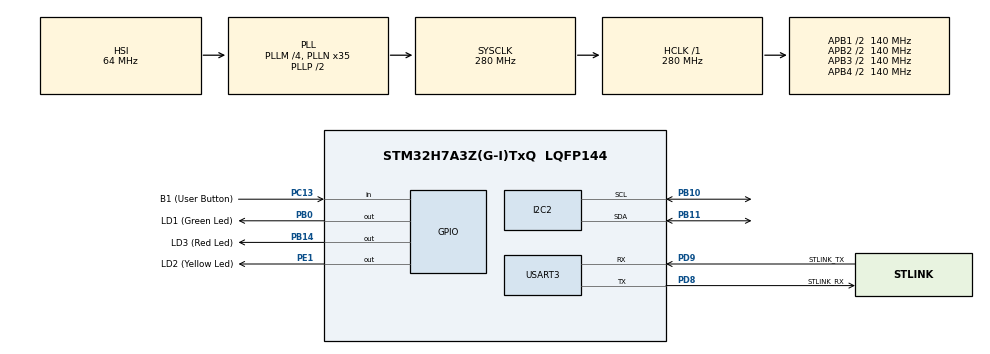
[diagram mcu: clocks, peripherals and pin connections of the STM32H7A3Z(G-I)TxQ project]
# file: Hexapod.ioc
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CORTEX_M7.default_mode_Activation=1
I2C2.Timing=0x20B0CCFF
Mcu.Family=STM32H7
Mcu.Name=STM32H7A3Z(G-I)TxQ
Mcu.Package=LQFP144
NVIC.PriorityGroup=NVIC_PRIORITYGROUP_4
NVIC.USART3_IRQn=true\:0\:0\:false\:false\:true\:true\:true\:true
PA13.Mode=Trace_Asynchronous_SW
PA13.Signal=DEBUG_JTMS-SWDIO
PA14.Mode=Trace_Asynchronous_SW
PA14.Signal=DEBUG_JTCK-SWCLK
PB0.GPIO_Label=LD1 (Green Led)
PB0.Signal=GPIO_Output
PB10.Mode=I2C
PB10.Signal=I2C2_SCL
PB11.Mode=I2C
PB11.Signal=I2C2_SDA
PB14.GPIO_Label=LD3 (Red Led)
PB14.Signal=GPIO_Output
PB3.Mode=Trace_Asynchronous_SW
PB3.Signal=DEBUG_JTDO-SWO
PC13.GPIO_Label=B1 (User Button)
PC13.Signal=GPIO_Input
PC14-OSC32_IN.GPIO_Label=OSC32_IN
PC14-OSC32_IN.Signal=RCC_OSC32_IN
PC15-OSC32_OUT.GPIO_Label=OSC32_OUT
PC15-OSC32_OUT.Signal=RCC_OSC32_OUT
PD8.GPIO_Label=STLINK_RX
PD8.Mode=Asynchronous
PD8.Signal=USART3_TX
PD9.GPIO_Label=STLINK_TX
PD9.Mode=Asynchronous
PD9.Signal=USART3_RX
PE1.GPIO_Label=LD2 (Yellow Led)
PE1.Signal=GPIO_Output
PH0-OSC_IN.GPIO_Label=PH0-MCU
PH0-OSC_IN.Mode=HSE-External-Oscillator
PH0-OSC_IN.Signal=RCC_OSC_IN
PH1-OSC_OUT.GPIO_Label=PH1-MCU
PH1-OSC_OUT.Mode=HSE-External-Oscillator
PH1-OSC_OUT.Signal=RCC_OSC_OUT
ProjectManager.HeapSize=0x200
ProjectManager.StackSize=0x400
ProjectManager.TargetToolchain=STM32CubeIDE
RCC.ADCFreq_Value=129000000
RCC.APB1Freq_Value=140000000
RCC.APB2Freq_Value=140000000
RCC.APB3Freq_Value=140000000
RCC.APB4Freq_Value=140000000
RCC.CDPPRE=RCC_APB3_DIV2
RCC.CDPPRE1=RCC_APB1_DIV2
RCC.CDPPRE2=RCC_APB2_DIV2
RCC.CortexFreq_Value=280000000
RCC.DIVM1=4
RCC.DIVM3=1
RCC.DIVN1=35
RCC.DIVN3=24
RCC.DIVQ1=4
RCC.HCLKFreq_Value=280000000
RCC.HSE_VALUE=8000000
RCC.PLLFRACN=0
RCC.PWR_Regulator_Voltage_Scale=PWR_REGULATOR_VOLTAGE_SCALE0
RCC.SRDPPRE=RCC_APB4_DIV2
RCC.SYSCLKFreq_VALUE=280000000
RCC.SYSCLKSource=RCC_SYSCLKSOURCE_PLLCLK
RCC.SupplySource=PWR_DIRECT_SMPS_SUPPLY
RCC.USBCLockSelection=RCC_USBCLKSOURCE_HSI48
RCC.USBFreq_Value=48000000
USART3.VirtualMode-Asynchronous=VM_ASYNC
VP_MEMORYMAP_VS_MEMORYMAP.Mode=CurAppReg
board=NUCLEO-H7A3ZI-Q

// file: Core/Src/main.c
/* USER CODE BEGIN Header */
/**
  ******************************************************************************
  * @file           : main.c
  * @brief          : Main program body
  ******************************************************************************
  * @attention
  *
  * Copyright (c) 2025 STMicroelectronics.
  * All rights reserved.
  *
  * This software is licensed under terms that can be found in the LICENSE file
  * in the root directory of this software component.
  * If no LICENSE file comes with this software, it is provided AS-IS.
  *
  ******************************************************************************
  */
/* USER CODE END Header */
#include "main.h"
#include "i2c.h"
#include "usart.h"
#include "gpio.h"

/* USER CODE BEGIN Includes */
#include "driver_pca9685_basic.h"

/* USER CODE END Includes */

void SystemClock_Config(void);
static void MPU_Config(void);

/* USER CODE BEGIN 0 */
#define PCA9685_ADDRESS       (0x40 << 1) // HAL uses 8-bit address (shifted)
// Datasheet link --> https://cdn-shop.adafruit.com/datasheets/PCA9685.pdf
#define PCA9685_MODE1         0x0         // as in the datasheet page no 10/52
#define PCA9685_PRE_SCALE     0xFE        // as in the datasheet page no 13/52
#define PCA9685_LED0_ON_L     0x6         // as in the datasheet page no 10/52
#define PCA9685_MODE1_SLEEP_BIT      4    // as in the datasheet page no 14/52
#define PCA9685_MODE1_AI_BIT         5    // as in the datasheet page no 14/52
#define PCA9685_MODE1_RESTART_BIT    7    // as in the datasheet page no 14/52

void PCA9685_SetBit(uint8_t Register, uint8_t Bit, uint8_t Value)
{
  uint8_t readValue;
  // Read all 8 bits and set only one bit to 0/1 and write all 8 bits back
  HAL_I2C_Mem_Read(&hi2c2, PCA9685_ADDRESS, Register, 1, &readValue, 1, 10);
  if (Value == 0) readValue &= ~(1 << Bit);
  else readValue |= (1 << Bit);
  HAL_I2C_Mem_Write(&hi2c2, PCA9685_ADDRESS, Register, 1, &readValue, 1, 10);
  HAL_Delay(1);
}

void PCA9685_SetPWMFrequency(uint16_t frequency)
{
  uint8_t prescale;
  if(frequency >= 1526) prescale = 0x03;
  else if(frequency <= 24) prescale = 0xFF;
  //  internal 25 MHz oscillator as in the datasheet page no 1/52
  else prescale = 25000000 / (4096 * frequency);
  // prescale changes 3 to 255 for 1526Hz to 24Hz as in the datasheet page no 1/52
  PCA9685_SetBit(PCA9685_MODE1, PCA9685_MODE1_SLEEP_BIT, 1);
  HAL_I2C_Mem_Write(&hi2c2, PCA9685_ADDRESS, PCA9685_PRE_SCALE, 1, &prescale, 1, 10);
  PCA9685_SetBit(PCA9685_MODE1, PCA9685_MODE1_SLEEP_BIT, 0);
  PCA9685_SetBit(PCA9685_MODE1, PCA9685_MODE1_RESTART_BIT, 1);
}

void PCA9685_Init(uint16_t frequency)
{
  PCA9685_SetPWMFrequency(frequency); // 50 Hz for servo
  PCA9685_SetBit(PCA9685_MODE1, PCA9685_MODE1_AI_BIT, 1);
}

void PCA9685_SetPWM(uint8_t Channel, uint16_t OnTime, uint16_t OffTime)
{
  uint8_t registerAddress;
  uint8_t pwm[4];
  registerAddress = PCA9685_LED0_ON_L + (4 * Channel);
  // See example 1 in the datasheet page no 18/52
  pwm[0] = OnTime & 0xFF;
  pwm[1] = OnTime>>8;
  pwm[2] = OffTime & 0xFF;
  pwm[3] = OffTime>>8;
  HAL_I2C_Mem_Write(&hi2c2, PCA9685_ADDRESS, registerAddress, 1, pwm, 4, 10);
}

void PCA9685_SetServoAngle(uint8_t Channel, float Angle)
{
  float Value;
  // 50 Hz servo then 4095 Value --> 20 milliseconds
  // 0 degree --> 0.5 ms(102.4 Value) and 180 degree --> 2.5 ms(511.9 Value)
  Value = (Angle * (511.9 - 102.4) / 180.0) + 102.4;
  PCA9685_SetPWM(Channel, 0, (uint16_t)Value);
}
/* USER CODE END 0 */

int main(void)
{

  /* MPU Configuration--------------------------------------------------------*/
  MPU_Config();

  /* MCU Configuration--------------------------------------------------------*/

  /* Reset of all peripherals, Initializes the Flash interface and the Systick. */
  HAL_Init();

  /* Configure the system clock */
  SystemClock_Config();

  /* Initialize all configured peripherals */
  MX_GPIO_Init();
  MX_USART3_UART_Init();
  MX_I2C2_Init();
  /* USER CODE BEGIN 2 */

  PCA9685_Init(50); // 50Hz for servo

  /* USER CODE END 2 */

  /* Infinite loop */
  /* USER CODE BEGIN WHILE */
  while (1)
  {
//      PCA9685_SetServoAngle(0, 0);
//      PCA9685_SetServoAngle(15, 0);
//      HAL_Delay(2000);
//      PCA9685_SetServoAngle(0, 90);
//      PCA9685_SetServoAngle(15, 90 );
//      HAL_Delay(2000);

    /* USER CODE END WHILE */

  }
}

void SystemClock_Config(void)
{
  RCC_OscInitTypeDef RCC_OscInitStruct = {0};
  RCC_ClkInitTypeDef RCC_ClkInitStruct = {0};

  /*AXI clock gating */
  RCC->CKGAENR = 0xE003FFFF;

  /** Supply configuration update enable
  */
  HAL_PWREx_ConfigSupply(PWR_DIRECT_SMPS_SUPPLY);

  /** Configure the main internal regulator output voltage
  */
  __HAL_PWR_VOLTAGESCALING_CONFIG(PWR_REGULATOR_VOLTAGE_SCALE0);

  while(!__HAL_PWR_GET_FLAG(PWR_FLAG_VOSRDY)) {}

  /** Initializes the RCC Oscillators according to the specified parameters
  * in the RCC_OscInitTypeDef structure.
  */
  RCC_OscInitStruct.OscillatorType = RCC_OSCILLATORTYPE_HSI;
  RCC_OscInitStruct.HSIState = RCC_HSI_DIV1;
  RCC_OscInitStruct.HSICalibrationValue = 64;
  RCC_OscInitStruct.PLL.PLLState = RCC_PLL_ON;
  RCC_OscInitStruct.PLL.PLLSource = RCC_PLLSOURCE_HSI;
  RCC_OscInitStruct.PLL.PLLM = 4;
  RCC_OscInitStruct.PLL.PLLN = 35;
  RCC_OscInitStruct.PLL.PLLP = 2;
  RCC_OscInitStruct.PLL.PLLQ = 4;
  RCC_OscInitStruct.PLL.PLLR = 2;
  RCC_OscInitStruct.PLL.PLLRGE = RCC_PLL1VCIRANGE_3;
  RCC_OscInitStruct.PLL.PLLVCOSEL = RCC_PLL1VCOWIDE;
  RCC_OscInitStruct.PLL.PLLFRACN = 0;
  if (HAL_RCC_OscConfig(&RCC_OscInitStruct) != HAL_OK)
  {
    Error_Handler();
  }

  /** Initializes the CPU, AHB and APB buses clocks
  */
  RCC_ClkInitStruct.ClockType = RCC_CLOCKTYPE_HCLK|RCC_CLOCKTYPE_SYSCLK
                              |RCC_CLOCKTYPE_PCLK1|RCC_CLOCKTYPE_PCLK2
                              |RCC_CLOCKTYPE_D3PCLK1|RCC_CLOCKTYPE_D1PCLK1;
  RCC_ClkInitStruct.SYSCLKSource = RCC_SYSCLKSOURCE_PLLCLK;
  RCC_ClkInitStruct.SYSCLKDivider = RCC_SYSCLK_DIV1;
  RCC_ClkInitStruct.AHBCLKDivider = RCC_HCLK_DIV1;
  RCC_ClkInitStruct.APB3CLKDivider = RCC_APB3_DIV2;
  RCC_ClkInitStruct.APB1CLKDivider = RCC_APB1_DIV2;
  RCC_ClkInitStruct.APB2CLKDivider = RCC_APB2_DIV2;
  RCC_ClkInitStruct.APB4CLKDivider = RCC_APB4_DIV2;

  if (HAL_RCC_ClockConfig(&RCC_ClkInitStruct, FLASH_LATENCY_6) != HAL_OK)
  {
    Error_Handler();
  }
}

 /* MPU Configuration */

void MPU_Config(void)
{
  MPU_Region_InitTypeDef MPU_InitStruct = {0};

  /* Disables the MPU */
  HAL_MPU_Disable();

  /** Initializes and configures the Region and the memory to be protected
  */
  MPU_InitStruct.Enable = MPU_REGION_ENABLE;
  MPU_InitStruct.Number = MPU_REGION_NUMBER0;
  MPU_InitStruct.BaseAddress = 0x0;
  MPU_InitStruct.Size = MPU_REGION_SIZE_4GB;
  MPU_InitStruct.SubRegionDisable = 0x87;
  MPU_InitStruct.TypeExtField = MPU_TEX_LEVEL0;
  MPU_InitStruct.AccessPermission = MPU_REGION_NO_ACCESS;
  MPU_InitStruct.DisableExec = MPU_INSTRUCTION_ACCESS_DISABLE;
  MPU_InitStruct.IsShareable = MPU_ACCESS_SHAREABLE;
  MPU_InitStruct.IsCacheable = MPU_ACCESS_NOT_CACHEABLE;
  MPU_InitStruct.IsBufferable = MPU_ACCESS_NOT_BUFFERABLE;

  HAL_MPU_ConfigRegion(&MPU_InitStruct);
  /* Enables the MPU */
  HAL_MPU_Enable(MPU_PRIVILEGED_DEFAULT);

}

void Error_Handler(void)
{
  __disable_irq();
  while (1)
  {
  }
}
